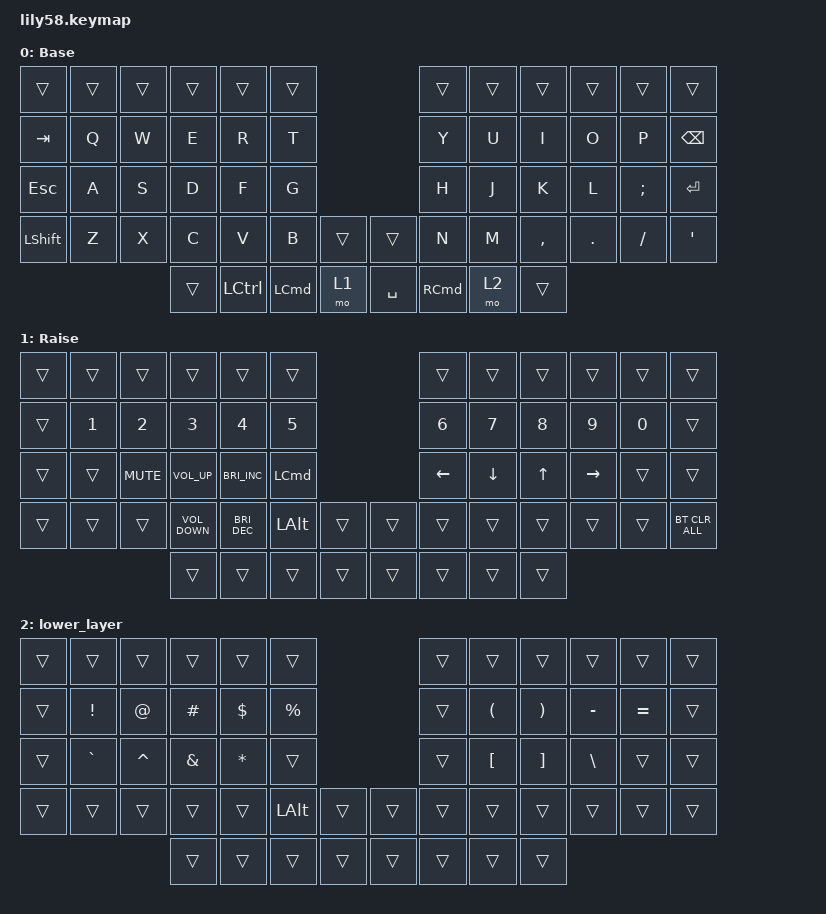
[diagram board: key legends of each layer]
/*
 * Copyright (c) 2020 The ZMK Contributors
 *
 * SPDX-License-Identifier: MIT
 */

#include <behaviors.dtsi>
#include <dt-bindings/zmk/bt.h>
#include <dt-bindings/zmk/keys.h>

/ {
    combos { compatible = "zmk,combos"; };

    keymap {
        compatible = "zmk,keymap";

        base {
            // ------------------------------------------------------------------------------------------------------------
            // |  ESC  |  1  |  2  |  3   |  4   |  5   |                   |  6   |  7    |  8    |  9   |   0   |   `   |
            // |  TAB  |  Q  |  W  |  E   |  R   |  T   |                   |  Y   |  U    |  I    |  O   |   P   |   -   |
            // |  CTRL |  A  |  S  |  D   |  F   |  G   |                   |  H   |  J    |  K    |  L   |   ;   |   '   |
            // | SHIFT |  Z  |  X  |  C   |  V   |  B   |   "["  |  |  "]"  |  N   |  M    |  ,    |  .   |   /   | SHIFT |
            //                     | ALT  | GUI  | LOWER|  SPACE |  | ENTER | RAISE| BSPC  | GUI   |

            display-name = "Base";
            bindings = <
&trans          &trans  &trans  &trans  &trans            &trans                                 &trans             &trans  &trans     &trans   &trans    &trans
&kp TAB         &kp Q   &kp W   &kp E   &kp R             &kp T                                  &kp Y              &kp U   &kp I      &kp O    &kp P     &kp BACKSPACE
&kp ESCAPE      &kp A   &kp S   &kp D   &kp F             &kp G                                  &kp H              &kp J   &kp K      &kp L    &kp SEMI  &kp ENTER
&kp LEFT_SHIFT  &kp Z   &kp X   &kp C   &kp V             &kp B             &trans    &trans     &kp N              &kp M   &kp COMMA  &kp DOT  &kp FSLH  &kp SQT
                                &trans  &kp LEFT_CONTROL  &kp LEFT_COMMAND  &mo 1     &kp SPACE  &kp RIGHT_COMMAND  &mo 2   &trans
            >;
        };

        raise_layer {
            // ------------------------------------------------------------------------------------------------------------
            // |       |     |     |      |      |      |                   |      |       |       |      |       |       |
            // |   `   |  1  |  2  |  3   |  4   |  5   |                   |  6   |   7   |   8   |  9   |   0   |       |
            // |   F1  |  F2 |  F3 |  F4  |  F5  |  F6  |                   |      |   <-  |   v   |  ^   |  ->   |       |
            // |   F7  |  F8 |  F9 |  F10 |  F11 |  F12 |        |  |       |  +   |   -   |   =   |  [   |   ]   |   \   |
            //                     |      |      |      |        |  |       |      |       |       |

            display-name = "Raise";
            bindings = <
&trans  &trans  &trans      &trans             &trans                &trans                              &trans    &trans    &trans  &trans     &trans  &trans
&trans  &kp N1  &kp N2      &kp N3             &kp N4                &kp N5                              &kp N6    &kp N7    &kp N8  &kp N9     &kp N0  &trans
&trans  &trans  &kp K_MUTE  &kp C_VOLUME_UP    &kp C_BRIGHTNESS_INC  &kp LEFT_COMMAND                    &kp LEFT  &kp DOWN  &kp UP  &kp RIGHT  &trans  &trans
&trans  &trans  &trans      &kp C_VOLUME_DOWN  &kp C_BRIGHTNESS_DEC  &kp LEFT_ALT      &trans    &trans  &trans    &trans    &trans  &trans     &trans  &bt BT_CLR_ALL
                            &trans             &trans                &trans            &trans    &trans  &trans    &trans    &trans
            >;
        };

        lower_layer {
            bindings = <
&trans  &trans           &trans       &trans     &trans      &trans                          &trans  &trans                &trans                 &trans         &trans     &trans
&trans  &kp EXCLAMATION  &kp AT_SIGN  &kp POUND  &kp DOLLAR  &kp PERCENT                     &trans  &kp LEFT_PARENTHESIS  &kp RIGHT_PARENTHESIS  &kp MINUS      &kp EQUAL  &trans
&trans  &kp GRAVE        &kp CARET    &kp AMPS   &kp STAR    &trans                          &trans  &kp LEFT_BRACKET      &kp RIGHT_BRACKET      &kp BACKSLASH  &trans     &trans
&trans  &trans           &trans       &trans     &trans      &kp LEFT_ALT  &trans    &trans  &trans  &trans                &trans                 &trans         &trans     &trans
                                      &trans     &trans      &trans        &trans    &trans  &trans  &trans                &trans
            >;
        };
    };
};
